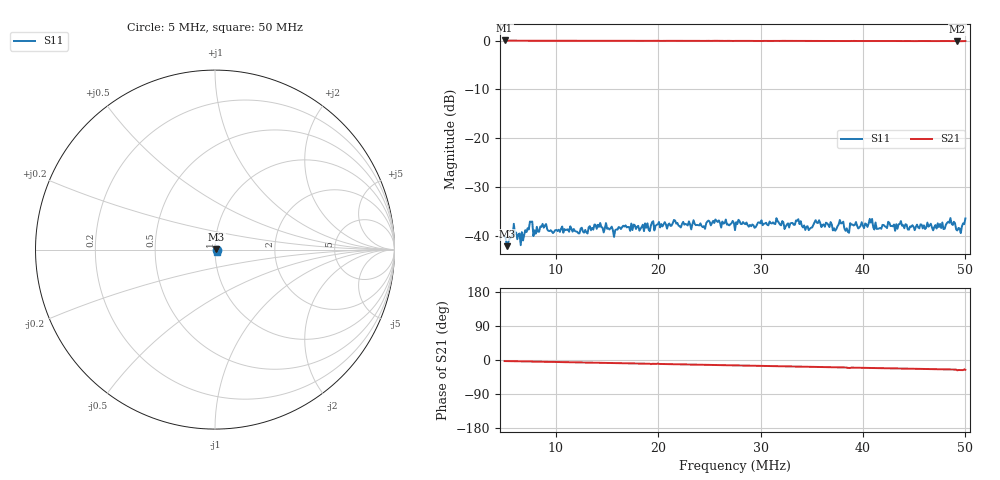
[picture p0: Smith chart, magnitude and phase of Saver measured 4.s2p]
! Measured S11/S21; S12/S22 are placeholders, NOT measurements. Calibration unverified.
! [Saver CAL applied] C:\Users\aknya\MyProjects\rf-simulator\calibration2.cal | Ideal standards assumed | Input: NanoVNA F V2 profile | COM3 | 2026-09-07T18:28:54.2927593-04:00 | device calibration unverified
# HZ S RI R 50
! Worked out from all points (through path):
!   401 points, 5 MHz to 50 MHz, reference 50 ohm
!   highest |S21| = 0.05 dB at 5 MHz (marker M1); lowest = -0.1 dB at 49.21 MHz (marker M2)
!   group delay of S21, straight-line fit = 1.43 ns
!   lowest |S11| = -42.2 dB at 5.225 MHz (marker M3), VSWR 1.02, Z = 50.8 + j0.148 ohm
!   |S11| at or under -10 dB: start of sweep to end of sweep
!   S12 and S22 are empty: the file has one direction only
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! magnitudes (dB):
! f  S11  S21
! 5 MHz  -40.2  0.0
! 5.225 MHz  -42.2  0.0
! 5.9 MHz  -37.6  0.0
! 6.8 MHz  -41.0  0.0
! 7.475 MHz  -37.1  0.0
! 8.037 MHz  -39.6  0.0
! 8.825 MHz  -38.4  0.0
! 9.613 MHz  -39.2  0.0
! 12.54 MHz  -38.4  0.0
! 20.07 MHz  -37.2  0.0
! 27.5 MHz  -38.9  0.0
! 35.04 MHz  -38.3  -0.1
! 35.49 MHz  -37.3  0.0
! 37.29 MHz  -39.0  0.0
! 37.85 MHz  -37.5  -0.1
! 38.41 MHz  -38.5  -0.1
! 39.09 MHz  -37.9  0.0
! 42.58 MHz  -37.4  -0.1
! 46.96 MHz  -38.2  -0.1
! 48.42 MHz  -37.4  -0.1
! 49.21 MHz  -39.0  -0.1
! 50 MHz  -36.5  -0.1
